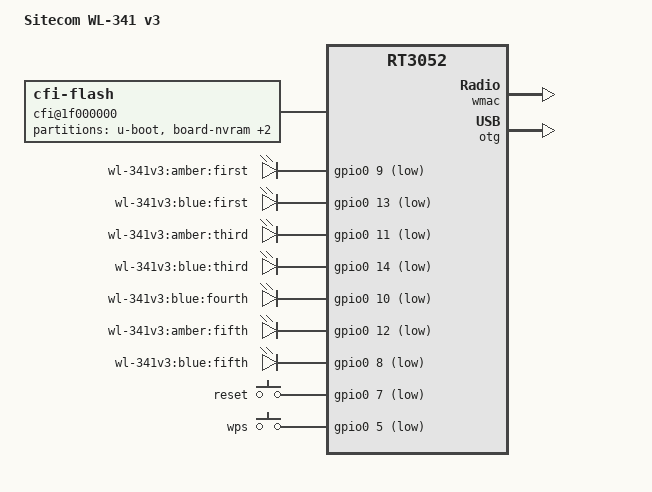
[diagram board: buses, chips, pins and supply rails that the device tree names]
/dts-v1/;

#include "rt3050.dtsi"

/ {
	compatible = "WL-341V3", "ralink,rt3052-soc";
	model = "Sitecom WL-341 v3";

	cfi@1f000000 {
		compatible = "cfi-flash";
		reg = <0x1f000000 0x800000>;
		bank-width = <2>;
		device-width = <2>;
		#address-cells = <1>;
		#size-cells = <1>;

		partition@0 {
			label = "u-boot";
			reg = <0x0 0x20000>;
			read-only;
		};

		boardnvram: partition@20000 {
			label = "board-nvram";
			reg = <0x20000 0x10000>;
			read-only;
		};

		partition@30000 {
			label = "u-boot-env";
			reg = <0x30000 0x10000>;
			read-only;
		};

		partition@40000 {
			label = "firmware";
			reg = <0x40000 0x3b0000>;
		};
	};

	gpio-leds {
		compatible = "gpio-leds";

		first {
			label = "wl-341v3:amber:first";
			gpios = <&gpio0 9 1>;
		};

		first2 {
			label = "wl-341v3:blue:first";
			gpios = <&gpio0 13 1>;
		};

		third {
			label = "wl-341v3:amber:third";
			gpios = <&gpio0 11 1>;
		};

		third2 {
			label = "wl-341v3:blue:third";
			gpios = <&gpio0 14 1>;
		};

		fourth {
			label = "wl-341v3:blue:fourth";
			gpios = <&gpio0 10 1>;
		};

		fifth {
			label = "wl-341v3:amber:fifth";
			gpios = <&gpio0 12 1>;
		};

		fifth2 {
			label = "wl-341v3:blue:fifth";
			gpios = <&gpio0 8 1>;
		};
	};

	gpio-keys-polled {
		compatible = "gpio-keys-polled";
		#address-cells = <1>;
		#size-cells = <0>;
		poll-interval = <20>;

		reset {
			label = "reset";
			gpios = <&gpio0 7 1>;
			linux,code = <0x198>;
		};

		wps {
			label = "wps";
			gpios = <&gpio0 5 1>;
			linux,code = <0x211>;
		};
	};
};

&pinctrl {
	state_default: pinctrl0 {
		gpio {
			ralink,group = "i2c", "jtag", "rgmii", "mdio", "uartf";
			ralink,function = "gpio";
		};
	};
};

&ethernet {
	mtd-mac-address = <&boardnvram 0xffa0>;
};

&esw {
	mediatek,portmap = <0x3e>;
};

&wmac {
	ralink,mtd-eeprom = <&boardnvram 0xfd70>;
};

&otg {
	status = "okay";
};
